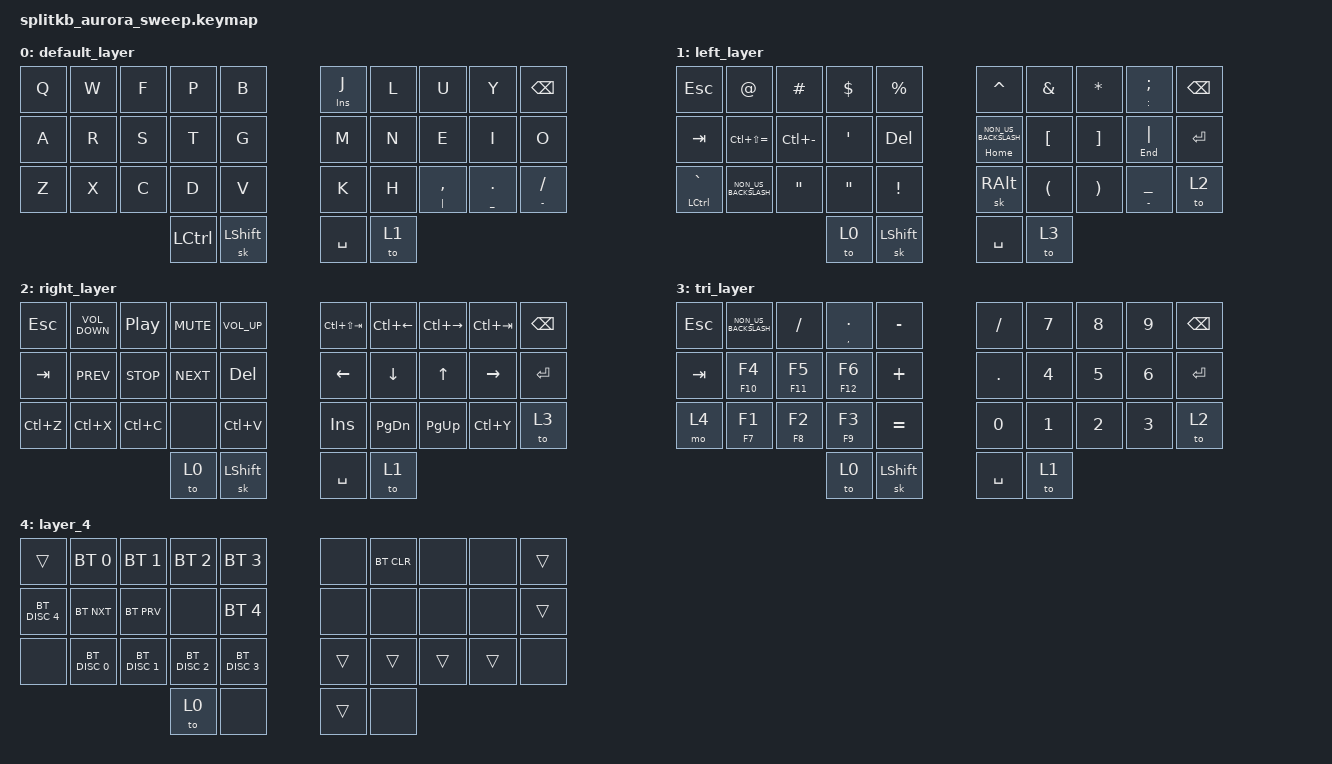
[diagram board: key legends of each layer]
/*
 * Copyright (c) 2022 The ZMK Contributors
 *
 * SPDX-License-Identifier: MIT
 */

#include <dt-bindings/zmk/mouse.h>
#include <behaviors.dtsi>
#include <dt-bindings/zmk/bt.h>
#include <dt-bindings/zmk/keys.h>

&mt {
    //  flavor = "tap-preferred";
    // tapping_term_ms = <200>;

    flavor = "tap-preferred";
};

/ {
    combos { compatible = "zmk,combos"; };

    behaviors {
        td: td {
            compatible = "zmk,behavior-hold-tap";
            label = "TAPDANCE";
            bindings = <&kp>, <&kp>;

            #binding-cells = <2>;
            tapping-term-ms = <150>;
            quick-tap-ms = <0>;
            flavor = "tap-preferred";
        };
    };

    keymap {
        compatible = "zmk,keymap";

        default_layer {
            bindings = <
&kp Q             &kp W           &kp F  &kp P  &kp B    &mt INSERT J  &kp L  &kp U           &kp Y             &kp BACKSPACE
&kp A             &kp R           &kp S  &kp T  &kp G    &kp M         &kp N  &kp E           &kp I             &kp O
&kp Z             &kp X           &kp C  &kp D  &kp V    &kp K         &kp H  &td PIPE COMMA  &td UNDER PERIOD  &td MINUS SLASH
&kp LEFT_CONTROL  &sk LEFT_SHIFT                                                              &kp SPACE         &to 1
            >;
        };

        left_layer {
            bindings = <
&kp ESC                 &kp AT_SIGN           &kp HASH           &kp DOLLAR         &kp PERCENT        &kp CARET                  &kp AMPERSAND         &kp ASTERISK           &td COLON SEMICOLON   &kp BACKSPACE
&kp TAB                 &kp LC(LS(EQUAL))     &kp LC(MINUS)      &kp SINGLE_QUOTE   &kp DEL            &td HOME NON_US_BACKSLASH  &kp LEFT_BRACKET      &kp RIGHT_BRACKET      &td END PIPE          &kp ENTER
&mt LEFT_CONTROL GRAVE  &kp NON_US_BACKSLASH  &kp DOUBLE_QUOTES  &kp DOUBLE_QUOTES  &kp EXCLAMATION    &sk RIGHT_ALT              &kp LEFT_PARENTHESIS  &kp RIGHT_PARENTHESIS  &td MINUS UNDERSCORE  &to 2
&to 0                   &sk LEFT_SHIFT                                                                                                                                         &kp SPACE             &to 3
            >;
        };

        right_layer {
            bindings = <
&kp ESC    &kp C_VOLUME_DOWN  &kp C_PLAY_PAUSE  &kp C_MUTE  &kp C_VOLUME_UP    &kp LC(LS(TAB))  &kp LC(LEFT_ARROW)  &kp LC(RIGHT_ARROW)  &kp LC(TAB)  &kp BACKSPACE
&kp TAB    &kp C_PREV         &kp C_STOP        &kp C_NEXT  &kp DELETE         &kp LEFT_ARROW   &kp DOWN_ARROW      &kp UP_ARROW         &kp RIGHT    &kp RETURN
&kp LC(Z)  &kp LC(X)          &kp LC(C)         &none       &kp LC(V)          &kp INS          &kp PAGE_DOWN       &kp PAGE_UP          &kp LC(Y)    &to 3
&to 0      &sk LEFT_SHIFT                                                                                                                &kp SPACE    &to 1
            >;
        };

        tri_layer {
            bindings = <
&kp ESCAPE  &kp NON_US_BACKSLASH  &kp SLASH   &mt COMMA PERIOD  &kp MINUS    &kp SLASH   &kp N7  &kp N8  &kp N9     &kp BACKSPACE
&kp TAB     &mt F10 F4            &mt F11 F5  &mt F12 F6        &kp PLUS     &kp PERIOD  &kp N4  &kp N5  &kp N6     &kp ENTER
&mo 4       &mt F7 F1             &mt F8 F2   &mt F9 F3         &kp EQUAL    &kp N0      &kp N1  &kp N2  &kp N3     &to 2
&to 0       &sk LEFT_SHIFT                                                                               &kp SPACE  &to 1
            >;
        };

        layer_4 {
            bindings = <
&trans         &bt BT_SEL 0   &bt BT_SEL 1   &bt BT_SEL 2   &bt BT_SEL 3     &none   &bt BT_CLR  &none   &none   &trans
&bt BT_DISC 4  &bt BT_NXT     &bt BT_PRV     &none          &bt BT_SEL 4     &none   &none       &none   &none   &trans
&none          &bt BT_DISC 0  &bt BT_DISC 1  &bt BT_DISC 2  &bt BT_DISC 3    &trans  &trans      &trans  &trans  &none
&to 0          &none                                                                                     &trans  &none
            >;
        };
    };
};
